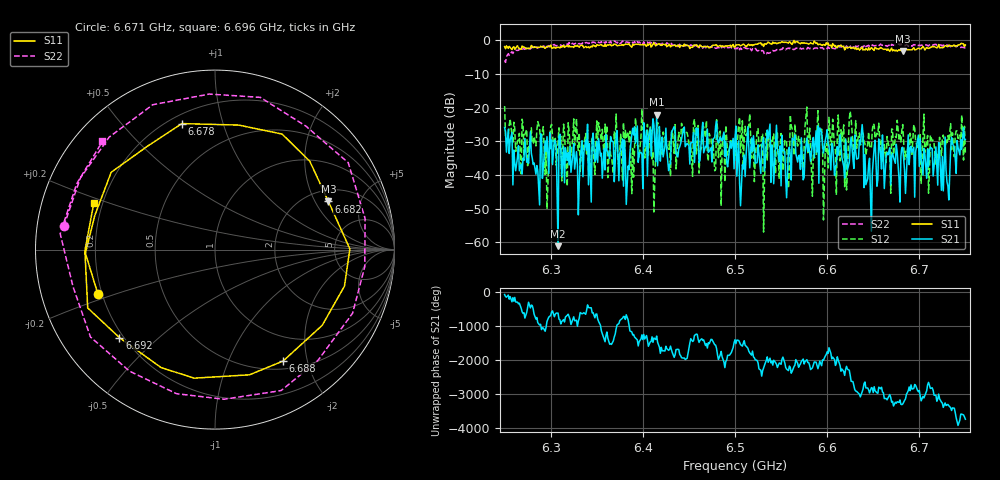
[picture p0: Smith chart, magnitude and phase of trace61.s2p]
# Hz S RI R 50
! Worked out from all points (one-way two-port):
!   401 points, 6.25 GHz to 6.75 GHz, reference 50 ohm
!   highest |S21| = -22.09 dB at 6.415 GHz (marker M1); lowest = -61.2 dB at 6.308 GHz (marker M2)
!   lowest |S11| = -3.3 dB at 6.682 GHz (marker M3), VSWR 5.38, Z = 128 + j129 ohm
!   |S11| at or under -10 dB: nowhere
!   |S22| runs from -6.5 to -0.2 dB; largest |S21 - S12| = 0.12
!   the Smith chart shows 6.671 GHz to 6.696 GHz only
!   S11 on the Smith chart (normalised r, x): 6.671 GHz: 0.18, -0.18; 6.678 GHz: 0.25, +0.74; 6.682 GHz: 2.55, +2.59; 6.688 GHz: 0.61, -1.61; 6.692 GHz: 0.18, -0.38; 6.696 GHz: 0.17, +0.18
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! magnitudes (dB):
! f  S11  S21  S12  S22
! 6.25 GHz  -1.8  -25.9  -19.5  -5.9
! 6.296 GHz  -1.7  -28.6  -50.2  -2.1
! 6.308 GHz  -2.1  -61.2  -30.1  -1.4
! 6.334 GHz  -1.4  -29.8  -30.0  -1.0
! 6.415 GHz  -1.3  -22.1  -28.9  -1.0
! 6.418 GHz  -1.0  -25.6  -26.7  -0.9
! 6.5 GHz  -2.0  -29.1  -30.5  -2.5
! 6.584 GHz  -1.1  -30.5  -46.4  -2.4
! 6.591 GHz  -1.2  -42.5  -29.3  -2.4
! 6.599 GHz  -0.7  -28.4  -33.1  -2.2
! 6.605 GHz  -2.2  -30.6  -30.2  -2.1
! 6.636 GHz  -2.7  -31.0  -31.0  -2.2
! 6.645 GHz  -2.2  -37.1  -27.3  -1.4
! 6.668 GHz  -3.2  -31.9  -32.7  -1.3
! 6.671 GHz  -3.1  -33.6  -26.5  -1.4
! 6.678 GHz  -2.8  -41.2  -29.4  -1.1
! 6.682 GHz  -3.3  -31.8  -25.0  -1.5
! 6.688 GHz  -2.8  -28.1  -30.8  -1.6
! 6.692 GHz  -2.8  -33.3  -33.9  -1.8
! 6.696 GHz  -2.8  -33.1  -29.8  -1.2
! 6.731 GHz  -1.9  -43.3  -28.4  -1.7
! 6.75 GHz  -1.4  -29.5  -33.5  -2.1
